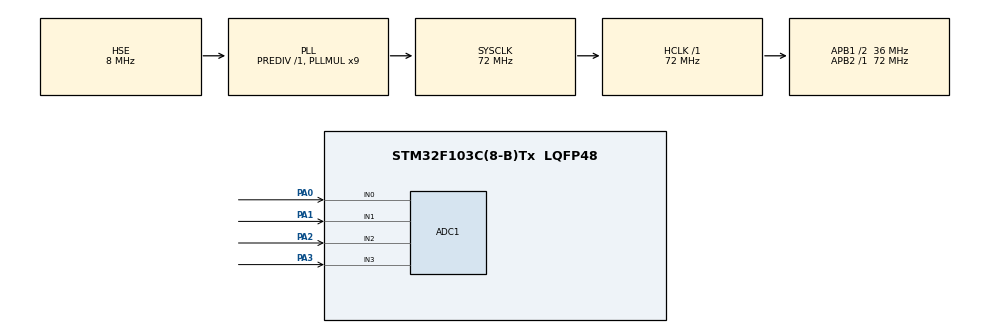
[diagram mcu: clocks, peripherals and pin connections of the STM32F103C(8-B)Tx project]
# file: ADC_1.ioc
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ADC1.Channel-0\#ChannelRegularConversion=ADC_CHANNEL_0
ADC1.Channel-1\#ChannelRegularConversion=ADC_CHANNEL_1
ADC1.Channel-2\#ChannelRegularConversion=ADC_CHANNEL_2
ADC1.Channel-3\#ChannelRegularConversion=ADC_CHANNEL_3
ADC1.ContinuousConvMode=ENABLE
ADC1.NbrOfConversion=4
ADC1.NbrOfConversionFlag=1
ADC1.Rank-0\#ChannelRegularConversion=1
ADC1.Rank-1\#ChannelRegularConversion=2
ADC1.Rank-2\#ChannelRegularConversion=3
ADC1.Rank-3\#ChannelRegularConversion=4
ADC1.SamplingTime-0\#ChannelRegularConversion=ADC_SAMPLETIME_239CYCLES_5
ADC1.SamplingTime-1\#ChannelRegularConversion=ADC_SAMPLETIME_239CYCLES_5
ADC1.SamplingTime-2\#ChannelRegularConversion=ADC_SAMPLETIME_239CYCLES_5
ADC1.SamplingTime-3\#ChannelRegularConversion=ADC_SAMPLETIME_239CYCLES_5
ADC1.master=1
Mcu.Family=STM32F1
Mcu.Name=STM32F103C(8-B)Tx
Mcu.Package=LQFP48
NVIC.ADC1_2_IRQn=true\:1\:0\:true\:false\:true\:true\:true\:true
NVIC.PriorityGroup=NVIC_PRIORITYGROUP_4
PA0-WKUP.Signal=ADCx_IN0
PA1.Signal=ADCx_IN1
PA13.Mode=Serial_Wire
PA13.Signal=SYS_JTMS-SWDIO
PA14.Mode=Serial_Wire
PA14.Signal=SYS_JTCK-SWCLK
PA2.Signal=ADCx_IN2
PA3.Signal=ADCx_IN3
PD0-OSC_IN.Mode=HSE-External-Oscillator
PD0-OSC_IN.Signal=RCC_OSC_IN
PD1-OSC_OUT.Mode=HSE-External-Oscillator
PD1-OSC_OUT.Signal=RCC_OSC_OUT
ProjectManager.HeapSize=0x200
ProjectManager.StackSize=0x400
ProjectManager.TargetToolchain=MDK-ARM V5.32
RCC.ADCPresc=RCC_ADCPCLK2_DIV6
RCC.AHBFreq_Value=72000000
RCC.APB1CLKDivider=RCC_HCLK_DIV2
RCC.APB1Freq_Value=36000000
RCC.APB1TimFreq_Value=72000000
RCC.APB2Freq_Value=72000000
RCC.APB2TimFreq_Value=72000000
RCC.HCLKFreq_Value=72000000
RCC.PLLMUL=RCC_PLL_MUL9
RCC.PLLSourceVirtual=RCC_PLLSOURCE_HSE
RCC.SYSCLKFreq_VALUE=72000000
RCC.SYSCLKSource=RCC_SYSCLKSOURCE_PLLCLK
RCC.USBFreq_Value=72000000
SH.ADCx_IN0.0=ADC1_IN0,IN0
SH.ADCx_IN1.0=ADC1_IN1,IN1
SH.ADCx_IN2.0=ADC1_IN2,IN2
SH.ADCx_IN3.0=ADC1_IN3,IN3
board=custom

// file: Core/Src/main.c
/* USER CODE BEGIN Header */
/**
  ******************************************************************************
  * @file           : main.c
  * @brief          : Main program body
  ******************************************************************************
  * @attention
  *
  * Copyright (c) 2023 STMicroelectronics.
  * All rights reserved.
  *
  * This software is licensed under terms that can be found in the LICENSE file
  * in the root directory of this software component.
  * If no LICENSE file comes with this software, it is provided AS-IS.
  *
  ******************************************************************************
  */
/* USER CODE END Header */
#include "main.h"

/* USER CODE BEGIN Includes */
uint16_t adcValue[4];

/* USER CODE END Includes */

ADC_HandleTypeDef hadc1;

void SystemClock_Config(void);
static void MX_GPIO_Init(void);
static void MX_ADC1_Init(void);

int main(void)
{

  /* MCU Configuration--------------------------------------------------------*/

  /* Reset of all peripherals, Initializes the Flash interface and the Systick. */
  HAL_Init();

  /* Configure the system clock */
  SystemClock_Config();

  /* Initialize all configured peripherals */
  MX_GPIO_Init();
  MX_ADC1_Init();

  /* Infinite loop */
  while (1)
  {

    /* USER CODE BEGIN 3 */
		HAL_ADC_Start(&hadc1);
		HAL_StatusTypeDef status = HAL_ADC_PollForConversion(&hadc1,100);	//rank 1
		if(status == HAL_OK)
		{
			adcValue[0] = HAL_ADC_GetValue(&hadc1);
		}

		status = HAL_ADC_PollForConversion(&hadc1,100);	//rank 2
		if(status == HAL_OK)
		{
			adcValue[1] = HAL_ADC_GetValue(&hadc1);
		}

		status = HAL_ADC_PollForConversion(&hadc1,100);	//rank 3
		if(status == HAL_OK)
		{
			adcValue[2] = HAL_ADC_GetValue(&hadc1);
		}

		status = HAL_ADC_PollForConversion(&hadc1,100);	//rank 3
		if(status == HAL_OK)
		{
			adcValue[3] = HAL_ADC_GetValue(&hadc1);
		}
		HAL_ADC_Stop(&hadc1);
		HAL_Delay(100);

  }
  /* USER CODE END 3 */
}

void SystemClock_Config(void)
{
  RCC_OscInitTypeDef RCC_OscInitStruct = {0};
  RCC_ClkInitTypeDef RCC_ClkInitStruct = {0};
  RCC_PeriphCLKInitTypeDef PeriphClkInit = {0};

  /** Initializes the RCC Oscillators according to the specified parameters
  * in the RCC_OscInitTypeDef structure.
  */
  RCC_OscInitStruct.OscillatorType = RCC_OSCILLATORTYPE_HSE;
  RCC_OscInitStruct.HSEState = RCC_HSE_ON;
  RCC_OscInitStruct.HSEPredivValue = RCC_HSE_PREDIV_DIV1;
  RCC_OscInitStruct.HSIState = RCC_HSI_ON;
  RCC_OscInitStruct.PLL.PLLState = RCC_PLL_ON;
  RCC_OscInitStruct.PLL.PLLSource = RCC_PLLSOURCE_HSE;
  RCC_OscInitStruct.PLL.PLLMUL = RCC_PLL_MUL9;
  if (HAL_RCC_OscConfig(&RCC_OscInitStruct) != HAL_OK)
  {
    Error_Handler();
  }

  /** Initializes the CPU, AHB and APB buses clocks
  */
  RCC_ClkInitStruct.ClockType = RCC_CLOCKTYPE_HCLK|RCC_CLOCKTYPE_SYSCLK
                              |RCC_CLOCKTYPE_PCLK1|RCC_CLOCKTYPE_PCLK2;
  RCC_ClkInitStruct.SYSCLKSource = RCC_SYSCLKSOURCE_PLLCLK;
  RCC_ClkInitStruct.AHBCLKDivider = RCC_SYSCLK_DIV1;
  RCC_ClkInitStruct.APB1CLKDivider = RCC_HCLK_DIV2;
  RCC_ClkInitStruct.APB2CLKDivider = RCC_HCLK_DIV1;

  if (HAL_RCC_ClockConfig(&RCC_ClkInitStruct, FLASH_LATENCY_2) != HAL_OK)
  {
    Error_Handler();
  }
  PeriphClkInit.PeriphClockSelection = RCC_PERIPHCLK_ADC;
  PeriphClkInit.AdcClockSelection = RCC_ADCPCLK2_DIV6;
  if (HAL_RCCEx_PeriphCLKConfig(&PeriphClkInit) != HAL_OK)
  {
    Error_Handler();
  }
}

static void MX_ADC1_Init(void)
{

  ADC_ChannelConfTypeDef sConfig = {0};

  /** Common config
  */
  hadc1.Instance = ADC1;
  hadc1.Init.ScanConvMode = ADC_SCAN_ENABLE;
  hadc1.Init.ContinuousConvMode = ENABLE;
  hadc1.Init.DiscontinuousConvMode = DISABLE;
  hadc1.Init.ExternalTrigConv = ADC_SOFTWARE_START;
  hadc1.Init.DataAlign = ADC_DATAALIGN_RIGHT;
  hadc1.Init.NbrOfConversion = 4;
  if (HAL_ADC_Init(&hadc1) != HAL_OK)
  {
    Error_Handler();
  }

  /** Configure Regular Channel
  */
  sConfig.Channel = ADC_CHANNEL_0;
  sConfig.Rank = ADC_REGULAR_RANK_1;
  sConfig.SamplingTime = ADC_SAMPLETIME_239CYCLES_5;
  if (HAL_ADC_ConfigChannel(&hadc1, &sConfig) != HAL_OK)
  {
    Error_Handler();
  }

  /** Configure Regular Channel
  */
  sConfig.Channel = ADC_CHANNEL_1;
  sConfig.Rank = ADC_REGULAR_RANK_2;
  if (HAL_ADC_ConfigChannel(&hadc1, &sConfig) != HAL_OK)
  {
    Error_Handler();
  }

  /** Configure Regular Channel
  */
  sConfig.Channel = ADC_CHANNEL_2;
  sConfig.Rank = ADC_REGULAR_RANK_3;
  if (HAL_ADC_ConfigChannel(&hadc1, &sConfig) != HAL_OK)
  {
    Error_Handler();
  }

  /** Configure Regular Channel
  */
  sConfig.Channel = ADC_CHANNEL_3;
  sConfig.Rank = ADC_REGULAR_RANK_4;
  if (HAL_ADC_ConfigChannel(&hadc1, &sConfig) != HAL_OK)
  {
    Error_Handler();
  }

}

static void MX_GPIO_Init(void)
{

  /* GPIO Ports Clock Enable */
  __HAL_RCC_GPIOD_CLK_ENABLE();
  __HAL_RCC_GPIOA_CLK_ENABLE();

}

void Error_Handler(void)
{
  __disable_irq();
  while (1)
  {
  }
}
